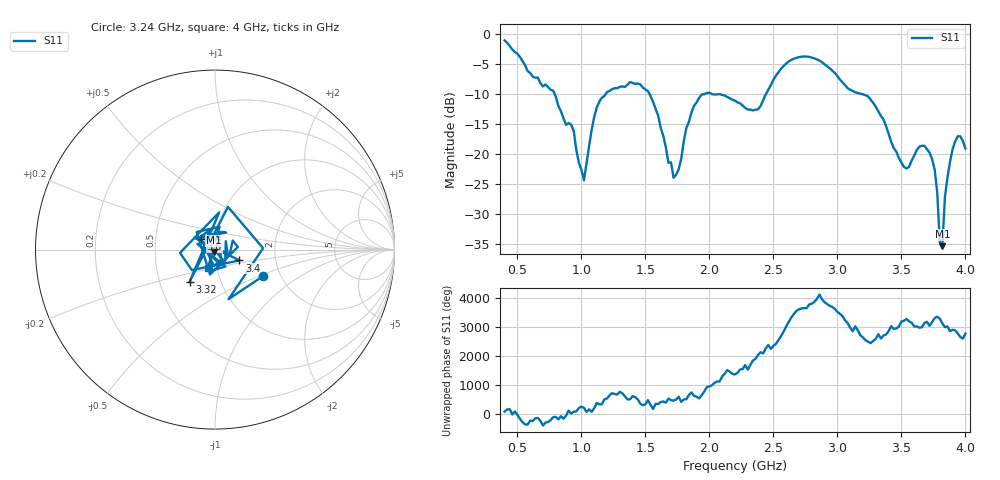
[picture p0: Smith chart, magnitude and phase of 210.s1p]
!Created with skrf (http://scikit-rf.org).
# Hz S RI R 50.0
!freq ReS11 ImS11
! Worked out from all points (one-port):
!   181 points, 400 MHz to 4 GHz, reference 50 ohm
!   lowest |S11| = -35.3 dB at 3.82 GHz (marker M1), VSWR 1.03, Z = 49.3 - j1.57 ohm
!   |S11| at or under -10 dB: 792 MHz to 1.188 GHz (396 MHz wide, 40 % of centre); 1.533 GHz to 1.946 GHz (413.1 MHz wide, 23.7 % of centre); 3.202 GHz to end of sweep (the widest 3 of 5)
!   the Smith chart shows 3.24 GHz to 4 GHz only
!   S11 on the Smith chart (normalised r, x): 3.24 GHz: 1.61, -0.53; 3.32 GHz: 0.71, -0.27; 3.4 GHz: 1.30, -0.16; 3.6 GHz: 0.85, +0.10; 4 GHz: 0.90, -0.19
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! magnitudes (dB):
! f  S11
! 400 MHz  -1.0
! 780 MHz  -9.4
! 860 MHz  -14.0
! 940 MHz  -16.1
! 1.02 GHz  -24.3
! 1.12 GHz  -12.2
! 1.3 GHz  -8.7
! 1.52 GHz  -9.4
! 1.72 GHz  -23.9
! 1.76 GHz  -22.5
! 1.82 GHz  -15.6
! 1.94 GHz  -10.0
! 2.2 GHz  -11.1
! 2.38 GHz  -12.5
! 2.66 GHz  -4.0
! 3.1 GHz  -9.2
! 3.24 GHz  -10.3
! 3.32 GHz  -12.8
! 3.4 GHz  -16.5
! 3.56 GHz  -22.1
! 3.6 GHz  -20.2
! 3.74 GHz  -20.8
! 3.78 GHz  -26.4
! 3.8 GHz  -34.6
! 3.82 GHz  -35.3
! 3.84 GHz  -27.1
! 3.9 GHz  -19.1
! 4 GHz  -19.0
